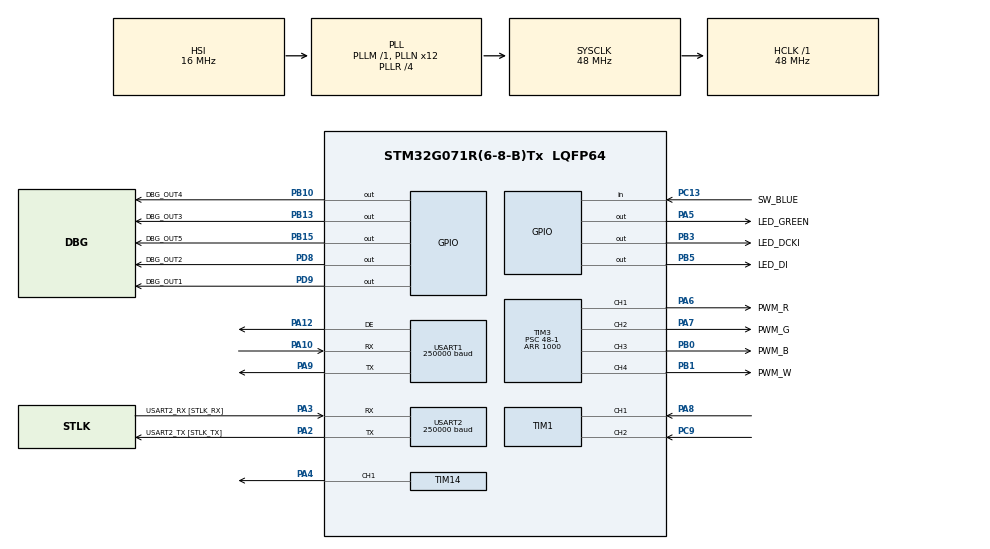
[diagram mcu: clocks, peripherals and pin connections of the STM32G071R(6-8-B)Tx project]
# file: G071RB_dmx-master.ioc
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Mcu.Family=STM32G0
Mcu.Name=STM32G071R(6-8-B)Tx
Mcu.Package=LQFP64
NVIC.TIM14_IRQn=true\:0\:0\:false\:false\:true\:true\:true\:true
NVIC.TIM1_CC_IRQn=true\:0\:0\:false\:false\:true\:true\:true\:true
NVIC.TIM2_IRQn=true\:0\:0\:false\:false\:true\:true\:true\:true
NVIC.TIM3_IRQn=true\:0\:0\:false\:false\:true\:true\:true\:true
NVIC.USART1_IRQn=true\:0\:0\:false\:false\:true\:true\:true\:true
PA10.Mode=Asynchronous
PA10.Signal=USART1_RX
PA12\ [PA10].Mode=Hardware Flow Control (RS485)
PA12\ [PA10].Signal=USART1_DE
PA13.GPIO_Label=TMS
PA13.Mode=Serial_Wire
PA13.Signal=SYS_SWDIO
PA14-BOOT0.GPIO_Label=TCK
PA14-BOOT0.Mode=Serial_Wire
PA14-BOOT0.Signal=SYS_SWCLK
PA2.GPIO_Label=USART2_TX [STLK_TX]
PA2.GPIO_PuPd=GPIO_PULLUP
PA2.Mode=Asynchronous
PA2.Signal=USART2_TX
PA3.GPIO_Label=USART2_RX [STLK_RX]
PA3.GPIO_PuPd=GPIO_PULLUP
PA3.Mode=Asynchronous
PA3.Signal=USART2_RX
PA4.Signal=S_TIM14_CH1
PA5.GPIO_Label=LED_GREEN
PA5.GPIO_Speed=GPIO_SPEED_FREQ_LOW
PA5.Signal=GPIO_Output
PA6.GPIO_Label=PWM_R
PA6.Signal=S_TIM3_CH1
PA7.GPIO_Label=PWM_G
PA7.Signal=S_TIM3_CH2
PA8.Signal=S_TIM1_CH1
PA9.Mode=Asynchronous
PA9.Signal=USART1_TX
PB0.GPIO_Label=PWM_B
PB0.Signal=S_TIM3_CH3
PB1.GPIO_Label=PWM_W
PB1.Signal=S_TIM3_CH4
PB10.GPIO_Label=DBG_OUT4
PB10.Signal=GPIO_Output
PB13.GPIO_Label=DBG_OUT3
PB13.Signal=GPIO_Output
PB15.GPIO_Label=DBG_OUT5
PB15.Signal=GPIO_Output
PB3.GPIO_Label=LED_DCKI
PB3.Signal=GPIO_Output
PB5.GPIO_Label=LED_DI
PB5.Signal=GPIO_Output
PC13.GPIO_Label=SW_BLUE
PC13.Signal=GPIO_Input
PC14-OSC32_IN\ (PC14).Signal=RCC_OSC32_IN
PC15-OSC32_OUT\ (PC15).Signal=RCC_OSC32_OUT
PC9.Signal=S_TIM1_CH2
PD8.GPIO_Label=DBG_OUT2
PD8.Signal=GPIO_Output
PD9.GPIO_Label=DBG_OUT1
PD9.Signal=GPIO_Output
PF0-OSC_IN\ (PF0).GPIO_Label=MCO
PF0-OSC_IN\ (PF0).Signal=RCC_OSC_IN
ProjectManager.HeapSize=0x200
ProjectManager.StackSize=0x400
ProjectManager.TargetToolchain=STM32CubeIDE
RCC.ADCFreq_Value=48000000
RCC.AHBFreq_Value=48000000
RCC.APB1CLKDivider=RCC_HCLK_DIV2
RCC.CortexFreq_Value=48000000
RCC.EXTERNAL_CLOCK_VALUE=12288000
RCC.HCLKFreq_Value=48000000
RCC.HSE_VALUE=8000000
RCC.HSI_VALUE=16000000
RCC.LSE_VALUE=32768
RCC.PLLN=12
RCC.PLLQ=RCC_PLLQ_DIV6
RCC.PLLR=RCC_PLLR_DIV4
RCC.SYSCLKFreq_VALUE=48000000
RCC.SYSCLKSource=RCC_SYSCLKSOURCE_PLLCLK
RCC.USART1CLockSelection=RCC_USART1CLKSOURCE_SYSCLK
RCC.USART2CLockSelection=RCC_USART2CLKSOURCE_SYSCLK
RCC.VCOOutputFreq_Value=192000000
SH.S_TIM14_CH1.0=TIM14_CH1,Output Compare1 CH1
SH.S_TIM1_CH1.0=TIM1_CH1,Input_Capture1_from_TI1
SH.S_TIM1_CH2.0=TIM1_CH2,Input_Capture2_from_TI2
SH.S_TIM3_CH1.0=TIM3_CH1,PWM Generation1 CH1
SH.S_TIM3_CH2.0=TIM3_CH2,PWM Generation2 CH2
SH.S_TIM3_CH3.0=TIM3_CH3,PWM Generation3 CH3
SH.S_TIM3_CH4.0=TIM3_CH4,PWM Generation4 CH4
TIM1.Channel-Input_Capture1_from_TI1=TIM_CHANNEL_1
TIM1.Channel-Input_Capture2_from_TI2=TIM_CHANNEL_2
TIM1.ICPolarity_CH1=TIM_INPUTCHANNELPOLARITY_FALLING
TIM14.Channel=TIM_CHANNEL_1
TIM14.Period=104
TIM14.Prescaler=48-1
TIM14.Pulse=92
TIM2.Period=44
TIM2.Prescaler=48-1
TIM3.Channel-PWM\ Generation1\ CH1=TIM_CHANNEL_1
TIM3.Channel-PWM\ Generation2\ CH2=TIM_CHANNEL_2
TIM3.Channel-PWM\ Generation3\ CH3=TIM_CHANNEL_3
TIM3.Channel-PWM\ Generation4\ CH4=TIM_CHANNEL_4
TIM3.OCPolarity_1=TIM_OCPOLARITY_LOW
TIM3.OCPolarity_2=TIM_OCPOLARITY_LOW
TIM3.OCPolarity_3=TIM_OCPOLARITY_LOW
TIM3.OCPolarity_4=TIM_OCPOLARITY_LOW
TIM3.Period=1000
TIM3.Prescaler=48-1
TIM3.Pulse-PWM\ Generation1\ CH1=0
TIM3.Pulse-PWM\ Generation2\ CH2=0
TIM3.Pulse-PWM\ Generation3\ CH3=240
TIM3.Pulse-PWM\ Generation4\ CH4=0
USART1.BaudRate=250000
USART1.StopBits=STOPBITS_2
USART1.VirtualMode-Asynchronous=VM_ASYNC
USART1.VirtualMode-Hardware\ Flow\ Control\ (RS485)=VM_ASYNC
USART2.BaudRate=250000
USART2.VirtualMode-Asynchronous=VM_ASYNC
VP_SYS_VS_DBSignals.Mode=DisableDeadBatterySignals
VP_TIM14_VS_ClockSourceINT.Mode=Enable_Timer
VP_TIM1_VS_ClockSourceINT.Mode=Internal
VP_TIM2_VS_ClockSourceINT.Mode=Internal
VP_TIM3_VS_ClockSourceINT.Mode=Internal
board=NUCLEO-G071RB

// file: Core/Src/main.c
/* USER CODE BEGIN Header */
/**
 ******************************************************************************
 * @file           : main.c
 * @brief          : Main program body
 ******************************************************************************
 * @attention
 *
 * Copyright (c) 2024 STMicroelectronics.
 * All rights reserved.
 *
 * This software is licensed under terms that can be found in the LICENSE file
 * in the root directory of this software component.
 * If no LICENSE file comes with this software, it is provided AS-IS.
 *
 ******************************************************************************
 */
/* USER CODE END Header */
#include "main.h"

/* USER CODE BEGIN Includes */
#include "core.h"
#include "dmx_transmitter.h"

//#include "curve.h"
//#include "led.h"

//#include "usb_device.h"
/* USER CODE END Includes */

/* USER CODE BEGIN PD */
//my92xx _my92xx = my92xx(MY92XX_MODEL, MY92XX_CHIPS, MY92XX_DI_PIN, MY92XX_DCKI_PIN, MY92XX_COMMAND_DEFAULT);
/* USER CODE END PD */

TIM_HandleTypeDef htim1;
TIM_HandleTypeDef htim2;
TIM_HandleTypeDef htim3;
TIM_HandleTypeDef htim14;

UART_HandleTypeDef huart1;
UART_HandleTypeDef huart2;

void SystemClock_Config(void);
static void MX_GPIO_Init(void);
static void MX_USART2_UART_Init(void);
static void MX_TIM3_Init(void);
static void MX_USART1_UART_Init(void);
static void MX_TIM1_Init(void);
static void MX_TIM14_Init(void);
static void MX_TIM2_Init(void);
/* USER CODE BEGIN PFP */
#ifdef __GNUC__
/* With GCC/RAISONANCE, small printf (option LD Linker->Libraries->Small printf
 set to 'Yes') calls __io_putchar() */
#define PUTCHAR_PROTOTYPE int __io_putchar(int ch)
#else
#define PUTCHAR_PROTOTYPE int fputc(int ch, FILE *f)
#endif /* __GNUC__ */

/* USER CODE END PFP */

/* USER CODE BEGIN 0 */
PUTCHAR_PROTOTYPE {
    /* Place your implementation of fputc here */
    /* e.g. write a character to the USART1 and Loop until the end of transmission */
    HAL_UART_Transmit(&huart2, (uint8_t*) &ch, 1, 0xFFFF);

    return ch;
}

/* USER CODE END 0 */

int main(void)
{

  /* MCU Configuration--------------------------------------------------------*/

  /* Reset of all peripherals, Initializes the Flash interface and the Systick. */
  HAL_Init();

  /* Configure the system clock */
  SystemClock_Config();

  /* Initialize all configured peripherals */
  MX_GPIO_Init();
  MX_USART2_UART_Init();
  MX_TIM3_Init();
  MX_USART1_UART_Init();
  MX_TIM1_Init();
  MX_TIM14_Init();
  MX_TIM2_Init();
  /* USER CODE BEGIN 2 */

    if (!core_init())
        Error_Handler();

    uint8_t test_packet[512];
    for (int i=0; i<sizeof(test_packet); i++)
      test_packet[i] = i & 0xFF;

    printf("\r\nDMX512 transmiter\r\n");
    printf("beta 0.1 (21/05/24)\r\n");

  /* USER CODE END 2 */

  /* Infinite loop */
  /* USER CODE BEGIN WHILE */

    while (1) {

        dmx_send(test_packet, sizeof(test_packet));

        //core_process_h24();
        //RGBW_red();

    /* USER CODE END WHILE */

    }
}

void SystemClock_Config(void)
{
  RCC_OscInitTypeDef RCC_OscInitStruct = {0};
  RCC_ClkInitTypeDef RCC_ClkInitStruct = {0};

  /** Configure the main internal regulator output voltage
  */
  HAL_PWREx_ControlVoltageScaling(PWR_REGULATOR_VOLTAGE_SCALE1);

  /** Initializes the RCC Oscillators according to the specified parameters
  * in the RCC_OscInitTypeDef structure.
  */
  RCC_OscInitStruct.OscillatorType = RCC_OSCILLATORTYPE_HSI;
  RCC_OscInitStruct.HSIState = RCC_HSI_ON;
  RCC_OscInitStruct.HSIDiv = RCC_HSI_DIV1;
  RCC_OscInitStruct.HSICalibrationValue = RCC_HSICALIBRATION_DEFAULT;
  RCC_OscInitStruct.PLL.PLLState = RCC_PLL_ON;
  RCC_OscInitStruct.PLL.PLLSource = RCC_PLLSOURCE_HSI;
  RCC_OscInitStruct.PLL.PLLM = RCC_PLLM_DIV1;
  RCC_OscInitStruct.PLL.PLLN = 12;
  RCC_OscInitStruct.PLL.PLLP = RCC_PLLP_DIV2;
  RCC_OscInitStruct.PLL.PLLQ = RCC_PLLQ_DIV6;
  RCC_OscInitStruct.PLL.PLLR = RCC_PLLR_DIV4;
  if (HAL_RCC_OscConfig(&RCC_OscInitStruct) != HAL_OK)
  {
    Error_Handler();
  }

  /** Initializes the CPU, AHB and APB buses clocks
  */
  RCC_ClkInitStruct.ClockType = RCC_CLOCKTYPE_HCLK|RCC_CLOCKTYPE_SYSCLK
                              |RCC_CLOCKTYPE_PCLK1;
  RCC_ClkInitStruct.SYSCLKSource = RCC_SYSCLKSOURCE_PLLCLK;
  RCC_ClkInitStruct.AHBCLKDivider = RCC_SYSCLK_DIV1;
  RCC_ClkInitStruct.APB1CLKDivider = RCC_HCLK_DIV2;

  if (HAL_RCC_ClockConfig(&RCC_ClkInitStruct, FLASH_LATENCY_1) != HAL_OK)
  {
    Error_Handler();
  }
}

static void MX_TIM1_Init(void)
{

  TIM_ClockConfigTypeDef sClockSourceConfig = {0};
  TIM_MasterConfigTypeDef sMasterConfig = {0};
  TIM_IC_InitTypeDef sConfigIC = {0};

  htim1.Instance = TIM1;
  htim1.Init.Prescaler = 0;
  htim1.Init.CounterMode = TIM_COUNTERMODE_UP;
  htim1.Init.Period = 65535;
  htim1.Init.ClockDivision = TIM_CLOCKDIVISION_DIV1;
  htim1.Init.RepetitionCounter = 0;
  htim1.Init.AutoReloadPreload = TIM_AUTORELOAD_PRELOAD_DISABLE;
  if (HAL_TIM_Base_Init(&htim1) != HAL_OK)
  {
    Error_Handler();
  }
  sClockSourceConfig.ClockSource = TIM_CLOCKSOURCE_INTERNAL;
  if (HAL_TIM_ConfigClockSource(&htim1, &sClockSourceConfig) != HAL_OK)
  {
    Error_Handler();
  }
  if (HAL_TIM_IC_Init(&htim1) != HAL_OK)
  {
    Error_Handler();
  }
  sMasterConfig.MasterOutputTrigger = TIM_TRGO_RESET;
  sMasterConfig.MasterOutputTrigger2 = TIM_TRGO2_RESET;
  sMasterConfig.MasterSlaveMode = TIM_MASTERSLAVEMODE_DISABLE;
  if (HAL_TIMEx_MasterConfigSynchronization(&htim1, &sMasterConfig) != HAL_OK)
  {
    Error_Handler();
  }
  sConfigIC.ICPolarity = TIM_INPUTCHANNELPOLARITY_FALLING;
  sConfigIC.ICSelection = TIM_ICSELECTION_DIRECTTI;
  sConfigIC.ICPrescaler = TIM_ICPSC_DIV1;
  sConfigIC.ICFilter = 0;
  if (HAL_TIM_IC_ConfigChannel(&htim1, &sConfigIC, TIM_CHANNEL_1) != HAL_OK)
  {
    Error_Handler();
  }
  sConfigIC.ICPolarity = TIM_INPUTCHANNELPOLARITY_RISING;
  if (HAL_TIM_IC_ConfigChannel(&htim1, &sConfigIC, TIM_CHANNEL_2) != HAL_OK)
  {
    Error_Handler();
  }
  /* USER CODE BEGIN TIM1_Init 2 */

    __HAL_TIM_ENABLE_IT(&htim1, TIM_IT_UPDATE);

    TIM_CCxChannelCmd(htim1.Instance, TIM_CHANNEL_1, TIM_CCx_ENABLE);
    TIM_CCxChannelCmd(htim1.Instance, TIM_CHANNEL_2, TIM_CCx_ENABLE);

    __HAL_TIM_DISABLE_IT(&htim1, TIM_IT_CC1);
    __HAL_TIM_DISABLE_IT(&htim1, TIM_IT_CC2);

    __HAL_TIM_CLEAR_FLAG(&htim1, TIM_IT_CC1);
    __HAL_TIM_CLEAR_FLAG(&htim1, TIM_IT_CC2);

    __HAL_TIM_ENABLE(&htim1);

    /*-h24
     HAL_NVIC_SetPriority(TIM2_IRQn, 0, 0);
     HAL_NVIC_EnableIRQ(TIM2_IRQn);
     */
    HAL_NVIC_SetPriority(TIM1_CC_IRQn, 0, 0);
    HAL_NVIC_EnableIRQ(TIM1_CC_IRQn);

  /* USER CODE END TIM1_Init 2 */

}

static void MX_TIM2_Init(void)
{

  TIM_ClockConfigTypeDef sClockSourceConfig = {0};
  TIM_MasterConfigTypeDef sMasterConfig = {0};

  htim2.Instance = TIM2;
  htim2.Init.Prescaler = 48-1;
  htim2.Init.CounterMode = TIM_COUNTERMODE_UP;
  htim2.Init.Period = 44;
  htim2.Init.ClockDivision = TIM_CLOCKDIVISION_DIV1;
  htim2.Init.AutoReloadPreload = TIM_AUTORELOAD_PRELOAD_DISABLE;
  if (HAL_TIM_Base_Init(&htim2) != HAL_OK)
  {
    Error_Handler();
  }
  sClockSourceConfig.ClockSource = TIM_CLOCKSOURCE_INTERNAL;
  if (HAL_TIM_ConfigClockSource(&htim2, &sClockSourceConfig) != HAL_OK)
  {
    Error_Handler();
  }
  sMasterConfig.MasterOutputTrigger = TIM_TRGO_RESET;
  sMasterConfig.MasterSlaveMode = TIM_MASTERSLAVEMODE_DISABLE;
  if (HAL_TIMEx_MasterConfigSynchronization(&htim2, &sMasterConfig) != HAL_OK)
  {
    Error_Handler();
  }
  /* USER CODE BEGIN TIM2_Init 2 */

  /* USER CODE BEGIN TIM2_Init 2 */
  /*
   * Update flag should be cleaned, to prevent unwanted interrupt. Inerrupt
   * flag is generated earlier, by following call:
   * HAL_TIM_Base_Init -> TIM_Base_SetConfig -> TIMx->EGR = TIM_EGR_UG
   */
  __HAL_TIM_CLEAR_IT(&htim2, TIM_FLAG_UPDATE);
  /* Enable interrupts, but don't enable timer counter, to prevent interrupts */
  __HAL_TIM_ENABLE_IT(&htim2, TIM_IT_UPDATE);

  /* USER CODE END TIM2_Init 2 */

}

static void MX_TIM3_Init(void)
{

  TIM_ClockConfigTypeDef sClockSourceConfig = {0};
  TIM_MasterConfigTypeDef sMasterConfig = {0};
  TIM_OC_InitTypeDef sConfigOC = {0};

  htim3.Instance = TIM3;
  htim3.Init.Prescaler = 48-1;
  htim3.Init.CounterMode = TIM_COUNTERMODE_UP;
  htim3.Init.Period = 1000;
  htim3.Init.ClockDivision = TIM_CLOCKDIVISION_DIV1;
  htim3.Init.AutoReloadPreload = TIM_AUTORELOAD_PRELOAD_DISABLE;
  if (HAL_TIM_Base_Init(&htim3) != HAL_OK)
  {
    Error_Handler();
  }
  sClockSourceConfig.ClockSource = TIM_CLOCKSOURCE_INTERNAL;
  if (HAL_TIM_ConfigClockSource(&htim3, &sClockSourceConfig) != HAL_OK)
  {
    Error_Handler();
  }
  if (HAL_TIM_PWM_Init(&htim3) != HAL_OK)
  {
    Error_Handler();
  }
  sMasterConfig.MasterOutputTrigger = TIM_TRGO_RESET;
  sMasterConfig.MasterSlaveMode = TIM_MASTERSLAVEMODE_DISABLE;
  if (HAL_TIMEx_MasterConfigSynchronization(&htim3, &sMasterConfig) != HAL_OK)
  {
    Error_Handler();
  }
  sConfigOC.OCMode = TIM_OCMODE_PWM1;
  sConfigOC.Pulse = 0;
  sConfigOC.OCPolarity = TIM_OCPOLARITY_LOW;
  sConfigOC.OCFastMode = TIM_OCFAST_DISABLE;
  if (HAL_TIM_PWM_ConfigChannel(&htim3, &sConfigOC, TIM_CHANNEL_1) != HAL_OK)
  {
    Error_Handler();
  }
  if (HAL_TIM_PWM_ConfigChannel(&htim3, &sConfigOC, TIM_CHANNEL_2) != HAL_OK)
  {
    Error_Handler();
  }
  sConfigOC.Pulse = 240;
  if (HAL_TIM_PWM_ConfigChannel(&htim3, &sConfigOC, TIM_CHANNEL_3) != HAL_OK)
  {
    Error_Handler();
  }
  sConfigOC.Pulse = 0;
  if (HAL_TIM_PWM_ConfigChannel(&htim3, &sConfigOC, TIM_CHANNEL_4) != HAL_OK)
  {
    Error_Handler();
  }
  HAL_TIM_MspPostInit(&htim3);

}

static void MX_TIM14_Init(void)
{

  TIM_OC_InitTypeDef sConfigOC = {0};

  htim14.Instance = TIM14;
  htim14.Init.Prescaler = 48-1;
  htim14.Init.CounterMode = TIM_COUNTERMODE_UP;
  htim14.Init.Period = 104;
  htim14.Init.ClockDivision = TIM_CLOCKDIVISION_DIV1;
  htim14.Init.AutoReloadPreload = TIM_AUTORELOAD_PRELOAD_DISABLE;
  if (HAL_TIM_Base_Init(&htim14) != HAL_OK)
  {
    Error_Handler();
  }
  if (HAL_TIM_OC_Init(&htim14) != HAL_OK)
  {
    Error_Handler();
  }
  sConfigOC.OCMode = TIM_OCMODE_TIMING;
  sConfigOC.Pulse = 92;
  sConfigOC.OCPolarity = TIM_OCPOLARITY_HIGH;
  sConfigOC.OCFastMode = TIM_OCFAST_DISABLE;
  if (HAL_TIM_OC_ConfigChannel(&htim14, &sConfigOC, TIM_CHANNEL_1) != HAL_OK)
  {
    Error_Handler();
  }
  /* USER CODE BEGIN TIM14_Init 2 */

  /*
     * Update flag should be cleaned, to prevent unwanted interrupt. Inerrupt
     * flag is generated earlier, by following call:
     * HAL_TIM_Base_Init -> TIM_Base_SetConfig -> TIMx->EGR = TIM_EGR_UG
     */
    __HAL_TIM_CLEAR_IT(&htim3, TIM_FLAG_UPDATE);
    /* Enable interrupts, but don't enable timer counter, to prevent interrupts */
    __HAL_TIM_ENABLE_IT(&htim3, TIM_IT_UPDATE);
    __HAL_TIM_ENABLE_IT(&htim3, TIM_IT_CC1);

  /* USER CODE END TIM14_Init 2 */
  HAL_TIM_MspPostInit(&htim14);

}

static void MX_USART1_UART_Init(void)
{

  huart1.Instance = USART1;
  huart1.Init.BaudRate = 250000;
  huart1.Init.WordLength = UART_WORDLENGTH_8B;
  huart1.Init.StopBits = UART_STOPBITS_2;
  huart1.Init.Parity = UART_PARITY_NONE;
  huart1.Init.Mode = UART_MODE_TX_RX;
  huart1.Init.HwFlowCtl = UART_HWCONTROL_NONE;
  huart1.Init.OverSampling = UART_OVERSAMPLING_16;
  huart1.Init.OneBitSampling = UART_ONE_BIT_SAMPLE_DISABLE;
  huart1.Init.ClockPrescaler = UART_PRESCALER_DIV1;
  huart1.AdvancedInit.AdvFeatureInit = UART_ADVFEATURE_NO_INIT;
  if (HAL_RS485Ex_Init(&huart1, UART_DE_POLARITY_HIGH, 0, 0) != HAL_OK)
  {
    Error_Handler();
  }
  if (HAL_UARTEx_SetTxFifoThreshold(&huart1, UART_TXFIFO_THRESHOLD_1_8) != HAL_OK)
  {
    Error_Handler();
  }
  if (HAL_UARTEx_SetRxFifoThreshold(&huart1, UART_RXFIFO_THRESHOLD_1_8) != HAL_OK)
  {
    Error_Handler();
  }
  if (HAL_UARTEx_DisableFifoMode(&huart1) != HAL_OK)
  {
    Error_Handler();
  }
  /* USER CODE BEGIN USART1_Init 2 */
    __HAL_UART_ENABLE_IT(&huart1, UART_IT_RXNE);
    __HAL_UART_ENABLE_IT(&huart1, UART_IT_ERR);

  /* USER CODE END USART1_Init 2 */

}

static void MX_USART2_UART_Init(void)
{

  huart2.Instance = USART2;
  huart2.Init.BaudRate = 250000;
  huart2.Init.WordLength = UART_WORDLENGTH_8B;
  huart2.Init.StopBits = UART_STOPBITS_1;
  huart2.Init.Parity = UART_PARITY_NONE;
  huart2.Init.Mode = UART_MODE_TX_RX;
  huart2.Init.HwFlowCtl = UART_HWCONTROL_NONE;
  huart2.Init.OverSampling = UART_OVERSAMPLING_16;
  huart2.Init.OneBitSampling = UART_ONE_BIT_SAMPLE_DISABLE;
  huart2.Init.ClockPrescaler = UART_PRESCALER_DIV1;
  huart2.AdvancedInit.AdvFeatureInit = UART_ADVFEATURE_NO_INIT;
  if (HAL_UART_Init(&huart2) != HAL_OK)
  {
    Error_Handler();
  }
  if (HAL_UARTEx_SetTxFifoThreshold(&huart2, UART_TXFIFO_THRESHOLD_1_8) != HAL_OK)
  {
    Error_Handler();
  }
  if (HAL_UARTEx_SetRxFifoThreshold(&huart2, UART_RXFIFO_THRESHOLD_1_8) != HAL_OK)
  {
    Error_Handler();
  }
  if (HAL_UARTEx_DisableFifoMode(&huart2) != HAL_OK)
  {
    Error_Handler();
  }

}

static void MX_GPIO_Init(void)
{
  GPIO_InitTypeDef GPIO_InitStruct = {0};

  /* GPIO Ports Clock Enable */
  __HAL_RCC_GPIOC_CLK_ENABLE();
  __HAL_RCC_GPIOF_CLK_ENABLE();
  __HAL_RCC_GPIOA_CLK_ENABLE();
  __HAL_RCC_GPIOB_CLK_ENABLE();
  __HAL_RCC_GPIOD_CLK_ENABLE();

  /*Configure GPIO pin Output Level */
  HAL_GPIO_WritePin(LED_GREEN_GPIO_Port, LED_GREEN_Pin, GPIO_PIN_RESET);

  /*Configure GPIO pin Output Level */
  HAL_GPIO_WritePin(GPIOB, DBG_OUT4_Pin|DBG_OUT3_Pin|DBG_OUT5_Pin|LED_DCKI_Pin
                          |LED_DI_Pin, GPIO_PIN_RESET);

  /*Configure GPIO pin Output Level */
  HAL_GPIO_WritePin(GPIOD, DBG_OUT2_Pin|DBG_OUT1_Pin, GPIO_PIN_RESET);

  /*Configure GPIO pin : SW_BLUE_Pin */
  GPIO_InitStruct.Pin = SW_BLUE_Pin;
  GPIO_InitStruct.Mode = GPIO_MODE_INPUT;
  GPIO_InitStruct.Pull = GPIO_NOPULL;
  HAL_GPIO_Init(SW_BLUE_GPIO_Port, &GPIO_InitStruct);

  /*Configure GPIO pin : LED_GREEN_Pin */
  GPIO_InitStruct.Pin = LED_GREEN_Pin;
  GPIO_InitStruct.Mode = GPIO_MODE_OUTPUT_PP;
  GPIO_InitStruct.Pull = GPIO_NOPULL;
  GPIO_InitStruct.Speed = GPIO_SPEED_FREQ_LOW;
  HAL_GPIO_Init(LED_GREEN_GPIO_Port, &GPIO_InitStruct);

  /*Configure GPIO pins : DBG_OUT4_Pin DBG_OUT3_Pin DBG_OUT5_Pin LED_DCKI_Pin
                           LED_DI_Pin */
  GPIO_InitStruct.Pin = DBG_OUT4_Pin|DBG_OUT3_Pin|DBG_OUT5_Pin|LED_DCKI_Pin
                          |LED_DI_Pin;
  GPIO_InitStruct.Mode = GPIO_MODE_OUTPUT_PP;
  GPIO_InitStruct.Pull = GPIO_NOPULL;
  GPIO_InitStruct.Speed = GPIO_SPEED_FREQ_LOW;
  HAL_GPIO_Init(GPIOB, &GPIO_InitStruct);

  /*Configure GPIO pins : DBG_OUT2_Pin DBG_OUT1_Pin */
  GPIO_InitStruct.Pin = DBG_OUT2_Pin|DBG_OUT1_Pin;
  GPIO_InitStruct.Mode = GPIO_MODE_OUTPUT_PP;
  GPIO_InitStruct.Pull = GPIO_NOPULL;
  GPIO_InitStruct.Speed = GPIO_SPEED_FREQ_LOW;
  HAL_GPIO_Init(GPIOD, &GPIO_InitStruct);

/* USER CODE BEGIN MX_GPIO_Init_2 */
    my92xx_init(MY92XX_MODEL, MY92XX_CHIPS, MY92XX_COMMAND_DEFAULT);
    my92xx_init_blue();

/* USER CODE END MX_GPIO_Init_2 */
}

void Error_Handler(void)
{
  /* USER CODE BEGIN Error_Handler_Debug */
    /* User can add his own implementation to report the HAL error return state */
    __disable_irq();
    while (1) {
        printf("error handler\r\n"); //+h24
    }
  /* USER CODE END Error_Handler_Debug */
}
